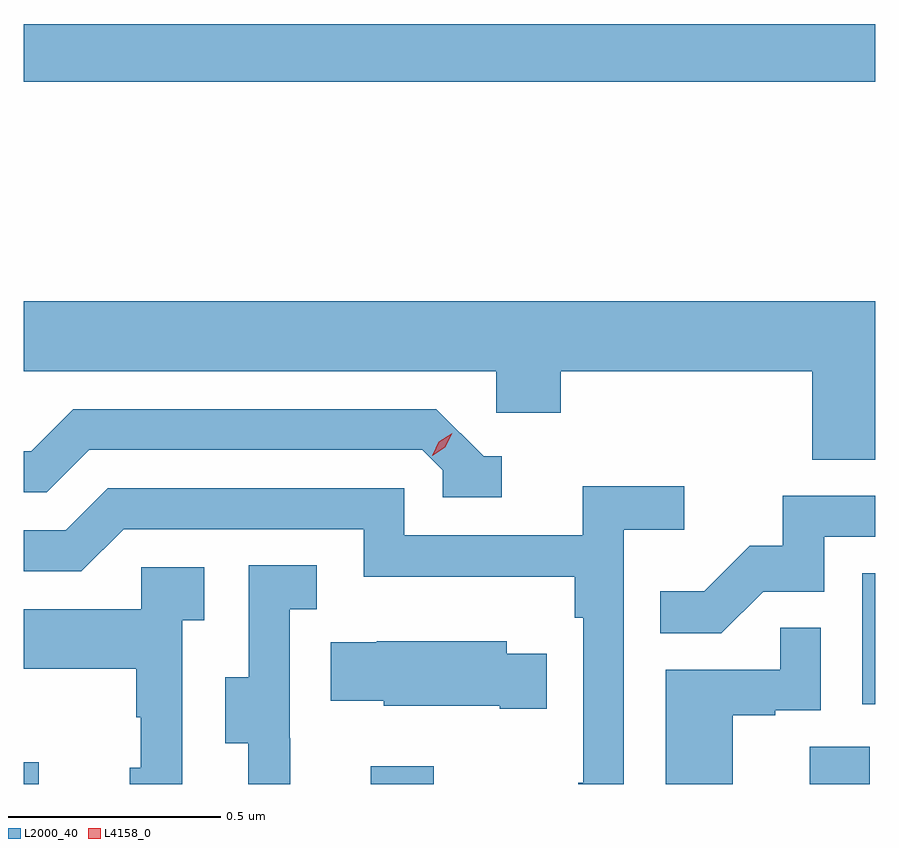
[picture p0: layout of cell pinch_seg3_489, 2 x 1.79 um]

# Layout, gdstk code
import gdstk
lib = gdstk.Library(unit=1e-6, precision=1e-09)
def R(c, l, rs):  # rectangles x0, y0, x1, y1
    for r in rs: c.add(gdstk.rectangle(r[:2], r[2:], *l))
def P(c, l, *ps):  # polygons
    for p in ps: c.add(gdstk.Polygon(p, *l))
L2000_40 = (2000, 40)
L4158_0 = (4158, 0)

pinch_seg3_489 = lib.new_cell('pinch_seg3_489')
R(pinch_seg3_489, L2000_40, [(1013.208,683.962,1013.243,684.013), (1014.023,683.962,1014.171,684.004), (1015.055,683.962,1015.195,684.05), (1015.178,684.15,1015.208,684.457), (1013.208,685.612,1015.208,685.748)])
P(pinch_seg3_489, L2000_40, [(1015.208,685.096),(1013.208,685.096),(1013.208,684.932),(1014.318,684.932),(1014.318,684.834),(1014.47,684.834),(1014.47,684.932),(1015.061,684.932),(1015.061,684.724),(1015.208,684.724)],
  [(1014.331,684.732),(1014.288,684.732),(1014.177,684.843),(1013.324,684.843),(1013.225,684.744),(1013.208,684.744),(1013.208,684.648),(1013.262,684.648),(1013.361,684.747),(1014.144,684.747),(1014.192,684.699),(1014.192,684.636),(1014.331,684.636)],
  [(1014.618,684.56),(1014.76,684.56),(1014.76,684.662),(1014.521,684.662),(1014.521,684.546),(1014.102,684.546),(1014.102,684.657),(1013.405,684.657),(1013.306,684.558),(1013.208,684.558),(1013.208,684.462),(1013.343,684.462),(1013.442,684.561),(1014.006,684.561),(1014.006,684.449),(1014.502,684.449),(1014.502,684.353),(1014.522,684.353),(1014.522,683.965),(1014.51,683.965),(1014.51,683.962),(1014.618,683.962)],
  [(1014.945,684.414),(1015.089,684.414),(1015.089,684.543),(1015.208,684.543),(1015.208,684.639),(1014.991,684.639),(1014.991,684.522),(1014.914,684.522),(1014.807,684.415),(1014.703,684.415),(1014.703,684.316),(1014.847,684.316)],
  [(1013.834,684.069),(1013.832,684.069),(1013.832,684.373),(1013.896,684.373),(1013.896,684.476),(1013.736,684.476),(1013.736,684.213),(1013.681,684.213),(1013.681,684.058),(1013.735,684.058),(1013.735,683.962),(1013.834,683.962)],
  [(1013.58,684.347),(1013.632,684.347),(1013.632,684.471),(1013.484,684.471),(1013.484,684.373),(1013.208,684.373),(1013.208,684.233),(1013.472,684.233),(1013.472,684.119),(1013.482,684.119),(1013.482,684),(1013.456,684),(1013.456,683.962),(1013.58,683.962)],
  [(1014.874,684.123),(1014.974,684.123),(1014.974,684.135),(1015.08,684.135),(1015.08,684.329),(1014.985,684.329),(1014.985,684.231),(1014.716,684.231),(1014.716,683.962),(1014.874,683.962)],
  [(1014.437,684.268),(1014.343,684.268),(1014.343,684.298),(1014.037,684.298),(1014.037,684.295),(1013.929,684.295),(1013.929,684.158),(1014.054,684.158),(1014.054,684.146),(1014.326,684.146),(1014.326,684.139),(1014.437,684.139)])
P(pinch_seg3_489, L4158_0, [(1014.168,684.733),(1014.168,684.733),(1014.183,684.766),(1014.214,684.786),(1014.214,684.786),(1014.214,684.786),(1014.198,684.753),(1014.168,684.733)])

lib.write_gds('pinch_seg3_489.gds')
